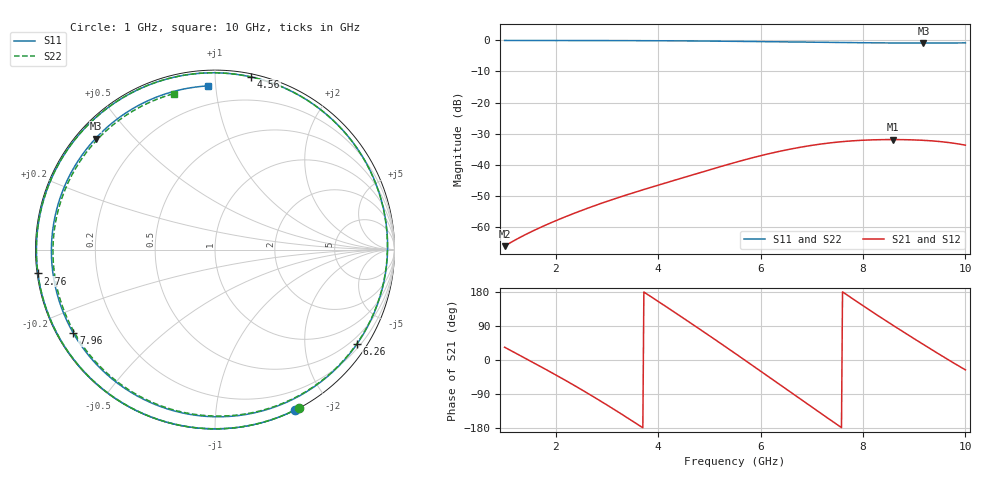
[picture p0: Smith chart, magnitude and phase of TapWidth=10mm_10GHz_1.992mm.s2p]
! Touchstone file exported from HFSS 2018.2.0
!  File:  C:/Users/10024/OneDrive - The University of Nottingham Ningbo China/Year 4/Final Year Project/HFSS project/Passive_Resonator_Antenna.aedt
!  Generated:  10:18:29 下午  3月 11, 2022
!  Design:  SMA_Reflect_Open
!  Project:  Passive_Resonator_Antenna
!  Setup:  Setup1
!  Solution:  Sweep
! Variables:
!  MW = 1.992mm
!  ThruL = 15mm
!  g = 0.2mm
!  subH = 0.8mm
!  subX = 20mm
!  subY = 25mm
# GHZ S MA R 50.000000
! Modal data exported
! Port[1] = SMA_CONNECTOR1_1:1
! Port[2] = SMA_CONNECTOR2_1:1
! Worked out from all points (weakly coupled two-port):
!   451 points, 1 GHz to 10 GHz, reference 50 ohm
!   highest |S21| = -31.91 dB at 8.58 GHz (marker M1); lowest = -66.2 dB at 1 GHz (marker M2)
!   lowest |S11| = -0.8 dB at 9.18 GHz (marker M3), VSWR 20.94, Z = 2.76 + j19.6 ohm
!   |S11| at or under -10 dB: nowhere
!   |S22| runs from -0.9 to 0.0 dB; largest |S21 - S12| = 4.5e-16
!   S11 on the Smith chart (normalised r, x): 1 GHz: 0.00, -1.61; 2.76 GHz: 0.00, -0.07; 4.56 GHz: 0.02, +1.23; 6.26 GHz: 0.30, -3.29; 7.96 GHz: 0.05, -0.27; 10 GHz: 0.09, +0.95
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1  0.9988 -63.6  0.0004881 33.7  0.0004881 33.7  0.9989 -62.1
! Gamma ! 0.0151858380091312 30.371683611176 0.0151858380091697 30.3716836111734
! Port Impedance50 0 50 0
1.36  0.9984 -86.2  0.0007162 7.6  0.0007162 7.6  0.9985 -84.2
1.72  0.9979 -108.6  0.0009948 -18.6  0.0009948 -18.6  0.998 -106.1
2.08  0.9974 -130.9  0.001336 -45.5  0.001336 -45.5  0.9975 -127.8
2.5  0.9964 -156.5  0.001829 -78.0  0.001829 -78.0  0.9966 -152.9
2.76  0.9957 -172.3  0.002191 -99.0  0.002191 -99.0  0.996 -168.3
3.34  0.9933 152.6  0.003179 -147.6  0.003179 -147.6  0.9938 157.5
4  0.9888 112.6  0.004685 154.6  0.004685 154.6  0.9897 118.6
4.56  0.9828 78.1  0.006437 104.2  0.006437 104.2  0.9842 85.1
5  0.9764 50.4  0.008251 64.1  0.008251 64.1  0.9782 58.2
5.5  0.9672 17.8  0.01086 17.7  0.01086 17.7  0.9695 26.8
5.88  0.9591 -7.6  0.01318 -18.1  0.01318 -18.1  0.9614 2.1
6.26  0.9502 -33.6  0.01568 -54.0  0.01568 -54.0  0.9523 -23.1
6.64  0.9411 -59.9  0.01821 -90.1  0.01821 -90.1  0.9427 -48.8
7  0.933 -84.9  0.02047 -124.1  0.02047 -124.1  0.9335 -73.3
7.46  0.9239 -116.4  0.02292 -167.2  0.02292 -167.2  0.9225 -104.4
7.96  0.9164 -149.4  0.02466 146.8  0.02466 146.8  0.9126 -137.4
8.5  0.9112 176.8  0.02537 99.0  0.02537 99.0  0.9046 -171.3
8.58  0.9107 171.9  0.02538 92.0  0.02538 92.0  0.9036 -176.1
9.18  0.9088 137.1  0.02466 40.9  0.02466 40.9  0.8987 148.9
9.6  0.9098 113.9  0.02311 6.0  0.02311 6.0  0.8975 125.9
10  0.9129 92.5  0.02065 -26.0  0.02065 -26.0  0.8985 104.7
